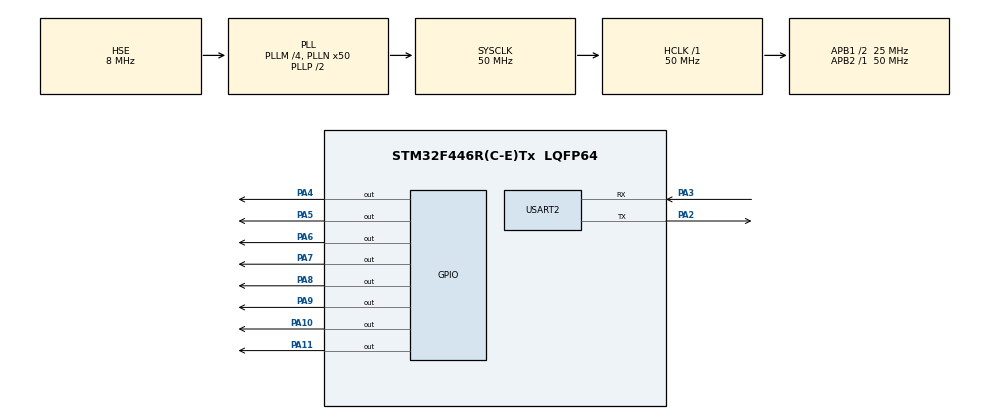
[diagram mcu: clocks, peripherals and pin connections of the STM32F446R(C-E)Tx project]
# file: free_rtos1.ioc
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FREERTOS.Tasks01=LED_01,-2,128,StartLED_01,Default,NULL,Dynamic,NULL,NULL;LED_02,-2,128,StartLED_02,Default,NULL,Dynamic,NULL,NULL;LED_03,-3,128,StartLED_03,Default,NULL,Dynamic,NULL,NULL;LED_04,-2,128,StartTLED_04,Default,NULL,Dynamic,NULL,NULL;LED_05,0,128,StartLED_05,Default,NULL,Dynamic,NULL,NULL;LED_06,0,128,StartLED_06,Default,NULL,Dynamic,NULL,NULL;LED_07,0,128,StartLED_7,Default,NULL,Dynamic,NULL,NULL;LED_08,-3,128,StartLED_08,Default,NULL,Dynamic,NULL,NULL
FREERTOS.configUSE_NEWLIB_REENTRANT=1
FREERTOS.copyHeapFile=1
Mcu.Family=STM32F4
Mcu.Name=STM32F446R(C-E)Tx
Mcu.Package=LQFP64
NVIC.PriorityGroup=NVIC_PRIORITYGROUP_4
NVIC.TIM3_IRQn=true\:15\:0\:false\:false\:true\:false\:false\:true\:true
NVIC.TimeBase=TIM3_IRQn
NVIC.TimeBaseIP=TIM3
PA10.Signal=GPIO_Output
PA11.Signal=GPIO_Output
PA13.Mode=Serial_Wire
PA13.Signal=SYS_JTMS-SWDIO
PA14.Mode=Serial_Wire
PA14.Signal=SYS_JTCK-SWCLK
PA2.Mode=Asynchronous
PA2.Signal=USART2_TX
PA3.Mode=Asynchronous
PA3.Signal=USART2_RX
PA4.Signal=GPIO_Output
PA5.Signal=GPIO_Output
PA6.Signal=GPIO_Output
PA7.Signal=GPIO_Output
PA8.Signal=GPIO_Output
PA9.Signal=GPIO_Output
PH0-OSC_IN.Mode=HSE-External-Oscillator
PH0-OSC_IN.Signal=RCC_OSC_IN
PH1-OSC_OUT.Mode=HSE-External-Oscillator
PH1-OSC_OUT.Signal=RCC_OSC_OUT
ProjectManager.HeapSize=0x200
ProjectManager.StackSize=0x400
ProjectManager.TargetToolchain=STM32CubeIDE
RCC.48MHZClocksFreq_Value=84000000
RCC.AHBFreq_Value=50000000
RCC.APB1CLKDivider=RCC_HCLK_DIV2
RCC.APB1Freq_Value=25000000
RCC.APB1TimFreq_Value=50000000
RCC.APB2Freq_Value=50000000
RCC.APB2TimFreq_Value=50000000
RCC.CortexFreq_Value=50000000
RCC.FLatency-AdvancedSettings=FLASH_LATENCY_1
RCC.HCLKFreq_Value=50000000
RCC.HSE_VALUE=8000000
RCC.HSI_VALUE=16000000
RCC.PLLM=4
RCC.PLLN=50
RCC.PLLSourceVirtual=RCC_PLLSOURCE_HSE
RCC.SYSCLKFreq_VALUE=50000000
RCC.SYSCLKSource=RCC_SYSCLKSOURCE_PLLCLK
RCC.USBFreq_Value=50000000
RCC.VCOOutputFreq_Value=100000000
USART2.VirtualMode=VM_ASYNC
VP_FREERTOS_VS_CMSIS_V1.Mode=CMSIS_V1
VP_SYS_VS_tim3.Mode=TIM3
board=NUCLEO-F446RE

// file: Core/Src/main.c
/* USER CODE BEGIN Header */
/**
  ******************************************************************************
  * @file           : main.c
  * @brief          : Main program body
  ******************************************************************************
  * @attention
  *
  * Copyright (c) 2024 STMicroelectronics.
  * All rights reserved.
  *
  * This software is licensed under terms that can be found in the LICENSE file
  * in the root directory of this software component.
  * If no LICENSE file comes with this software, it is provided AS-IS.
  *
  ******************************************************************************
  */
/* USER CODE END Header */
#include "main.h"
#include "cmsis_os.h"

UART_HandleTypeDef huart2;

osThreadId LED_01Handle;
osThreadId LED_02Handle;
osThreadId LED_03Handle;
osThreadId LED_04Handle;
osThreadId LED_05Handle;
osThreadId LED_06Handle;
osThreadId LED_07Handle;
osThreadId LED_08Handle;

void SystemClock_Config(void);
static void MX_GPIO_Init(void);
static void MX_USART2_UART_Init(void);
void StartLED_01(void const * argument);
void StartLED_02(void const * argument);
void StartLED_03(void const * argument);
void StartTLED_04(void const * argument);
void StartLED_05(void const * argument);
void StartLED_06(void const * argument);
void StartLED_7(void const * argument);
void StartLED_08(void const * argument);

int main(void)
{

  /* MCU Configuration--------------------------------------------------------*/

  /* Reset of all peripherals, Initializes the Flash interface and the Systick. */
  HAL_Init();

  /* Configure the system clock */
  SystemClock_Config();

  /* Initialize all configured peripherals */
  MX_GPIO_Init();
  MX_USART2_UART_Init();

  /* Create the thread(s) */
  /* definition and creation of LED_01 */
  osThreadDef(LED_01, StartLED_01, osPriorityLow, 0, 128);
  LED_01Handle = osThreadCreate(osThread(LED_01), NULL);

  /* definition and creation of LED_02 */
  osThreadDef(LED_02, StartLED_02, osPriorityLow, 0, 128);
  LED_02Handle = osThreadCreate(osThread(LED_02), NULL);

  /* definition and creation of LED_03 */
  osThreadDef(LED_03, StartLED_03, osPriorityIdle, 0, 128);
  LED_03Handle = osThreadCreate(osThread(LED_03), NULL);

  /* definition and creation of LED_04 */
  osThreadDef(LED_04, StartTLED_04, osPriorityLow, 0, 128);
  LED_04Handle = osThreadCreate(osThread(LED_04), NULL);

  /* definition and creation of LED_05 */
  osThreadDef(LED_05, StartLED_05, osPriorityNormal, 0, 128);
  LED_05Handle = osThreadCreate(osThread(LED_05), NULL);

  /* definition and creation of LED_06 */
  osThreadDef(LED_06, StartLED_06, osPriorityNormal, 0, 128);
  LED_06Handle = osThreadCreate(osThread(LED_06), NULL);

  /* definition and creation of LED_07 */
  osThreadDef(LED_07, StartLED_7, osPriorityNormal, 0, 128);
  LED_07Handle = osThreadCreate(osThread(LED_07), NULL);

  /* definition and creation of LED_08 */
  osThreadDef(LED_08, StartLED_08, osPriorityIdle, 0, 128);
  LED_08Handle = osThreadCreate(osThread(LED_08), NULL);

  /* Start scheduler */
  osKernelStart();

  /* We should never get here as control is now taken by the scheduler */
  /* Infinite loop */
  while (1)
  {

  }
}

void SystemClock_Config(void)
{
  RCC_OscInitTypeDef RCC_OscInitStruct = {0};
  RCC_ClkInitTypeDef RCC_ClkInitStruct = {0};

  /** Configure the main internal regulator output voltage
  */
  __HAL_RCC_PWR_CLK_ENABLE();
  __HAL_PWR_VOLTAGESCALING_CONFIG(PWR_REGULATOR_VOLTAGE_SCALE3);

  /** Initializes the RCC Oscillators according to the specified parameters
  * in the RCC_OscInitTypeDef structure.
  */
  RCC_OscInitStruct.OscillatorType = RCC_OSCILLATORTYPE_HSE;
  RCC_OscInitStruct.HSEState = RCC_HSE_ON;
  RCC_OscInitStruct.PLL.PLLState = RCC_PLL_ON;
  RCC_OscInitStruct.PLL.PLLSource = RCC_PLLSOURCE_HSE;
  RCC_OscInitStruct.PLL.PLLM = 4;
  RCC_OscInitStruct.PLL.PLLN = 50;
  RCC_OscInitStruct.PLL.PLLP = RCC_PLLP_DIV2;
  RCC_OscInitStruct.PLL.PLLQ = 2;
  RCC_OscInitStruct.PLL.PLLR = 2;
  if (HAL_RCC_OscConfig(&RCC_OscInitStruct) != HAL_OK)
  {
    Error_Handler();
  }

  /** Initializes the CPU, AHB and APB buses clocks
  */
  RCC_ClkInitStruct.ClockType = RCC_CLOCKTYPE_HCLK|RCC_CLOCKTYPE_SYSCLK
                              |RCC_CLOCKTYPE_PCLK1|RCC_CLOCKTYPE_PCLK2;
  RCC_ClkInitStruct.SYSCLKSource = RCC_SYSCLKSOURCE_PLLCLK;
  RCC_ClkInitStruct.AHBCLKDivider = RCC_SYSCLK_DIV1;
  RCC_ClkInitStruct.APB1CLKDivider = RCC_HCLK_DIV2;
  RCC_ClkInitStruct.APB2CLKDivider = RCC_HCLK_DIV1;

  if (HAL_RCC_ClockConfig(&RCC_ClkInitStruct, FLASH_LATENCY_1) != HAL_OK)
  {
    Error_Handler();
  }
}

static void MX_USART2_UART_Init(void)
{

  huart2.Instance = USART2;
  huart2.Init.BaudRate = 115200;
  huart2.Init.WordLength = UART_WORDLENGTH_8B;
  huart2.Init.StopBits = UART_STOPBITS_1;
  huart2.Init.Parity = UART_PARITY_NONE;
  huart2.Init.Mode = UART_MODE_TX_RX;
  huart2.Init.HwFlowCtl = UART_HWCONTROL_NONE;
  huart2.Init.OverSampling = UART_OVERSAMPLING_16;
  if (HAL_UART_Init(&huart2) != HAL_OK)
  {
    Error_Handler();
  }

}

static void MX_GPIO_Init(void)
{
  GPIO_InitTypeDef GPIO_InitStruct = {0};

  /* GPIO Ports Clock Enable */
  __HAL_RCC_GPIOH_CLK_ENABLE();
  __HAL_RCC_GPIOA_CLK_ENABLE();

  /*Configure GPIO pin Output Level */
  HAL_GPIO_WritePin(GPIOA, GPIO_PIN_4|GPIO_PIN_5|GPIO_PIN_6|GPIO_PIN_7
                          |GPIO_PIN_8|GPIO_PIN_9|GPIO_PIN_10|GPIO_PIN_11, GPIO_PIN_RESET);

  /*Configure GPIO pins : PA4 PA5 PA6 PA7
                           PA8 PA9 PA10 PA11 */
  GPIO_InitStruct.Pin = GPIO_PIN_4|GPIO_PIN_5|GPIO_PIN_6|GPIO_PIN_7
                          |GPIO_PIN_8|GPIO_PIN_9|GPIO_PIN_10|GPIO_PIN_11;
  GPIO_InitStruct.Mode = GPIO_MODE_OUTPUT_PP;
  GPIO_InitStruct.Pull = GPIO_NOPULL;
  GPIO_InitStruct.Speed = GPIO_SPEED_FREQ_LOW;
  HAL_GPIO_Init(GPIOA, &GPIO_InitStruct);

}

void StartLED_01(void const * argument)
{
  /* USER CODE BEGIN 5 */
  /* Infinite loop */
  for(;;)
  {
	  HAL_GPIO_TogglePin(GPIOA,GPIO,pin_4);
    //osDelay(100);
	  HAL_Delay(150);
  }
  /* USER CODE END 5 */
}

void StartLED_02(void const * argument)
{
  /* USER CODE BEGIN StartLED_02 */
  /* Infinite loop */
  for(;;)
  {
	  HAL_GPIO_TogglePinO(GPIOA,GPIO_pin_5);
    //osDelay(1);
	  HAL_Delay(300)
  }
  /* USER CODE END StartLED_02 */
}

void StartLED_03(void const * argument)
{
  /* USER CODE BEGIN StartLED_03 */
  /* Infinite loop */
  for(;;)
  {
	  HAL_GPIO_TogglePinO(GPIOA,GPIO_pin_6);
    //osDelay(1);
	  HAl_Delay(450);
  }
  /* USER CODE END StartLED_03 */
}

void StartTLED_04(void const * argument)
{
  /* USER CODE BEGIN StartTLED_04 */
  /* Infinite loop */
  for(;;)
  {
	  HAL_GPIO_TogglePinO(GPIOA,GPIO_pin_7);
    //osDelay(1);
	  HAL_Delay(600)
  }
  /* USER CODE END StartTLED_04 */
}

void StartLED_05(void const * argument)
{
  /* USER CODE BEGIN StartLED_05 */
  /* Infinite loop */
  for(;;)
  {
	  HAL_GPIO_TogglePinO(GPIOA,GPIO_pin_8);
    osDelay(750);
  }
  /* USER CODE END StartLED_05 */
}

void StartLED_06(void const * argument)
{
  /* USER CODE BEGIN StartLED_06 */
  /* Infinite loop */
  for(;;)
  {
	  HAL_GPIO_TogglePinO(GPIOA,GPIO_pin_9);
    osDelay(900);
  }
  /* USER CODE END StartLED_06 */
}

void StartLED_7(void const * argument)
{
  /* USER CODE BEGIN StartLED_7 */
  /* Infinite loop */
  for(;;)
  {
	  HAL_GPIO_TogglePinO(GPIOA,GPIO_pin_10);
    osDelay(1050);
  }
  /* USER CODE END StartLED_7 */
}

void StartLED_08(void const * argument)
{
  /* USER CODE BEGIN StartLED_08 */
  /* Infinite loop */
  for(;;)
  {
	  HAL_GPIO_TogglePinO(GPIOA,GPIO_pin_11);
    osDelay(1200);
  }
  /* USER CODE END StartLED_08 */
}

void HAL_TIM_PeriodElapsedCallback(TIM_HandleTypeDef *htim)
{
  if (htim->Instance == TIM3) {
    HAL_IncTick();
  }
}

void Error_Handler(void)
{
  __disable_irq();
  while (1)
  {
  }
}
